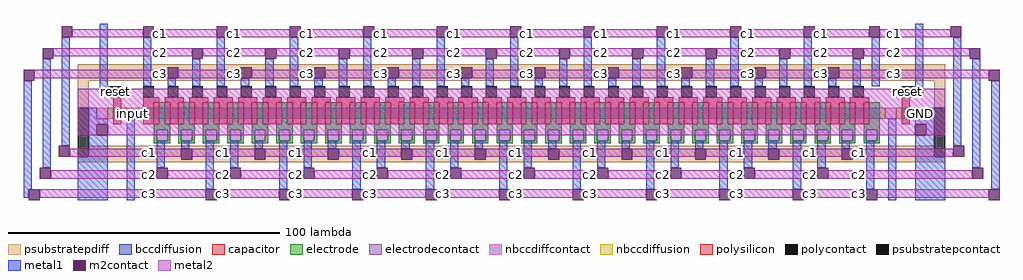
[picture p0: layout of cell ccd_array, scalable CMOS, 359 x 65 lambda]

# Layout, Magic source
magic
tech scmos
<< polysilicon >>
rect -51 5 -48 15
rect -40 13 -34 15
rect -32 13 -25 15
rect -23 13 -16 15
rect -14 13 -7 15
rect -5 13 2 15
rect 4 13 11 15
rect 13 13 20 15
rect 22 13 29 15
rect 31 13 38 15
rect 40 13 47 15
rect 49 13 56 15
rect 58 13 65 15
rect 67 13 74 15
rect 76 13 83 15
rect 85 13 92 15
rect 94 13 101 15
rect 103 13 110 15
rect 112 13 119 15
rect 121 13 128 15
rect 130 13 137 15
rect 139 13 146 15
rect 148 13 155 15
rect 157 13 164 15
rect 166 13 173 15
rect 175 13 182 15
rect 184 13 191 15
rect 193 13 200 15
rect 202 13 209 15
rect 211 13 218 15
rect 220 13 227 15
rect -40 5 -36 13
rect -30 5 -27 13
rect -21 5 -18 13
rect -12 5 -9 13
rect -3 5 0 13
rect 6 5 9 13
rect 15 5 18 13
rect 24 5 27 13
rect 33 5 36 13
rect 42 5 45 13
rect 51 5 54 13
rect 60 5 63 13
rect 69 5 72 13
rect 78 5 81 13
rect 87 5 90 13
rect 96 5 99 13
rect 105 5 108 13
rect 114 5 117 13
rect 123 5 126 13
rect 132 5 135 13
rect 141 5 144 13
rect 150 5 153 13
rect 159 5 162 13
rect 168 5 171 13
rect 177 5 180 13
rect 186 5 189 13
rect 195 5 198 13
rect 204 5 207 13
rect 213 5 216 13
rect 222 5 225 13
rect 239 5 242 15
<< electrode >>
rect -34 5 -32 13
rect -25 5 -23 13
rect -16 5 -14 13
rect -7 5 -5 13
rect 2 5 4 13
rect 11 5 13 13
rect 20 5 22 13
rect 29 5 31 13
rect 38 5 40 13
rect 47 5 49 13
rect 56 5 58 13
rect 65 5 67 13
rect 74 5 76 13
rect 83 5 85 13
rect 92 5 94 13
rect 101 5 103 13
rect 110 5 112 13
rect 119 5 121 13
rect 128 5 130 13
rect 137 5 139 13
rect 146 5 148 13
rect 155 5 157 13
rect 164 5 166 13
rect 173 5 175 13
rect 182 5 184 13
rect 191 5 193 13
rect 200 5 202 13
rect 209 5 211 13
rect 218 5 220 13
rect 227 5 231 13
rect -36 3 -30 5
rect -36 -1 -35 3
rect -31 -1 -30 3
rect -36 -2 -30 -1
rect -27 3 -21 5
rect -27 -1 -26 3
rect -22 -1 -21 3
rect -27 -2 -21 -1
rect -18 3 -12 5
rect -18 -1 -17 3
rect -13 -1 -12 3
rect -18 -2 -12 -1
rect -9 3 -3 5
rect -9 -1 -8 3
rect -4 -1 -3 3
rect -9 -2 -3 -1
rect 0 3 6 5
rect 0 -1 1 3
rect 5 -1 6 3
rect 0 -2 6 -1
rect 9 3 15 5
rect 9 -1 10 3
rect 14 -1 15 3
rect 9 -2 15 -1
rect 18 3 24 5
rect 18 -1 19 3
rect 23 -1 24 3
rect 18 -2 24 -1
rect 27 3 33 5
rect 27 -1 28 3
rect 32 -1 33 3
rect 27 -2 33 -1
rect 36 3 42 5
rect 36 -1 37 3
rect 41 -1 42 3
rect 36 -2 42 -1
rect 45 3 51 5
rect 45 -1 46 3
rect 50 -1 51 3
rect 45 -2 51 -1
rect 54 3 60 5
rect 54 -1 55 3
rect 59 -1 60 3
rect 54 -2 60 -1
rect 63 3 69 5
rect 63 -1 64 3
rect 68 -1 69 3
rect 63 -2 69 -1
rect 72 3 78 5
rect 72 -1 73 3
rect 77 -1 78 3
rect 72 -2 78 -1
rect 81 3 87 5
rect 81 -1 82 3
rect 86 -1 87 3
rect 81 -2 87 -1
rect 90 3 96 5
rect 90 -1 91 3
rect 95 -1 96 3
rect 90 -2 96 -1
rect 99 3 105 5
rect 99 -1 100 3
rect 104 -1 105 3
rect 99 -2 105 -1
rect 108 3 114 5
rect 108 -1 109 3
rect 113 -1 114 3
rect 108 -2 114 -1
rect 117 3 123 5
rect 117 -1 118 3
rect 122 -1 123 3
rect 117 -2 123 -1
rect 126 3 132 5
rect 126 -1 127 3
rect 131 -1 132 3
rect 126 -2 132 -1
rect 135 3 141 5
rect 135 -1 136 3
rect 140 -1 141 3
rect 135 -2 141 -1
rect 144 3 150 5
rect 144 -1 145 3
rect 149 -1 150 3
rect 144 -2 150 -1
rect 153 3 159 5
rect 153 -1 154 3
rect 158 -1 159 3
rect 153 -2 159 -1
rect 162 3 168 5
rect 162 -1 163 3
rect 167 -1 168 3
rect 162 -2 168 -1
rect 171 3 177 5
rect 171 -1 172 3
rect 176 -1 177 3
rect 171 -2 177 -1
rect 180 3 186 5
rect 180 -1 181 3
rect 185 -1 186 3
rect 180 -2 186 -1
rect 189 3 195 5
rect 189 -1 190 3
rect 194 -1 195 3
rect 189 -2 195 -1
rect 198 3 204 5
rect 198 -1 199 3
rect 203 -1 204 3
rect 198 -2 204 -1
rect 207 3 213 5
rect 207 -1 208 3
rect 212 -1 213 3
rect 207 -2 213 -1
rect 216 3 222 5
rect 216 -1 217 3
rect 221 -1 222 3
rect 216 -2 222 -1
rect 225 3 231 5
rect 225 -1 226 3
rect 230 -1 231 3
rect 225 -2 231 -1
<< capacitor >>
rect -36 5 -34 13
rect -32 5 -30 13
rect -27 5 -25 13
rect -23 5 -21 13
rect -18 5 -16 13
rect -14 5 -12 13
rect -9 5 -7 13
rect -5 5 -3 13
rect 0 5 2 13
rect 4 5 6 13
rect 9 5 11 13
rect 13 5 15 13
rect 18 5 20 13
rect 22 5 24 13
rect 27 5 29 13
rect 31 5 33 13
rect 36 5 38 13
rect 40 5 42 13
rect 45 5 47 13
rect 49 5 51 13
rect 54 5 56 13
rect 58 5 60 13
rect 63 5 65 13
rect 67 5 69 13
rect 72 5 74 13
rect 76 5 78 13
rect 81 5 83 13
rect 85 5 87 13
rect 90 5 92 13
rect 94 5 96 13
rect 99 5 101 13
rect 103 5 105 13
rect 108 5 110 13
rect 112 5 114 13
rect 117 5 119 13
rect 121 5 123 13
rect 126 5 128 13
rect 130 5 132 13
rect 135 5 137 13
rect 139 5 141 13
rect 144 5 146 13
rect 148 5 150 13
rect 153 5 155 13
rect 157 5 159 13
rect 162 5 164 13
rect 166 5 168 13
rect 171 5 173 13
rect 175 5 177 13
rect 180 5 182 13
rect 184 5 186 13
rect 189 5 191 13
rect 193 5 195 13
rect 198 5 200 13
rect 202 5 204 13
rect 207 5 209 13
rect 211 5 213 13
rect 216 5 218 13
rect 220 5 222 13
rect 225 5 227 13
<< metal1 >>
rect -84 -19 -81 21
rect -77 -11 -74 29
rect -70 -3 -67 37
rect -56 19 -53 42
rect -40 19 -37 37
rect -31 19 -28 22
rect -22 19 -19 29
rect -13 19 -10 37
rect -4 19 -1 22
rect 5 19 8 29
rect 14 19 17 37
rect 23 19 26 22
rect 32 19 35 29
rect 41 19 44 37
rect 50 19 53 22
rect 59 19 62 29
rect 68 19 71 37
rect 77 19 80 22
rect 86 19 89 29
rect 95 19 98 37
rect 104 19 107 22
rect 113 19 116 29
rect 122 19 125 37
rect 131 19 134 22
rect 140 19 143 29
rect 149 19 152 37
rect 158 19 161 22
rect 167 19 170 29
rect 176 19 179 37
rect 185 19 188 22
rect 194 19 197 29
rect 203 19 206 37
rect 212 19 215 22
rect 221 19 224 29
rect 228 19 231 37
rect 244 19 247 42
rect -56 16 -52 19
rect 243 16 247 19
rect -60 7 -57 11
rect -60 5 -53 7
rect -60 1 -57 5
rect -60 -7 -53 1
rect -84 -22 -82 -19
rect -64 -23 -53 -7
rect -46 -23 -43 7
rect -35 -11 -32 -1
rect -26 -4 -23 -1
rect -17 -19 -14 -1
rect -8 -11 -5 -1
rect 1 -4 4 -1
rect 10 -19 13 -1
rect 19 -11 22 -1
rect 28 -4 31 -1
rect 37 -19 40 -1
rect 46 -11 49 -1
rect 55 -4 58 -1
rect 64 -19 67 -1
rect 73 -11 76 -1
rect 82 -4 85 -1
rect 91 -19 94 -1
rect 100 -11 103 -1
rect 109 -4 112 -1
rect 118 -19 121 -1
rect 127 -11 130 -1
rect 136 -4 139 -1
rect 145 -19 148 -1
rect 154 -11 157 -1
rect 163 -4 166 -1
rect 172 -19 175 -1
rect 181 -11 184 -1
rect 190 -4 193 -1
rect 199 -19 202 -1
rect 208 -11 211 -1
rect 217 -4 220 -1
rect 226 -19 229 -1
rect 234 -23 237 7
rect 248 7 251 11
rect 244 5 251 7
rect 248 1 251 5
rect 244 -7 251 1
rect 258 -3 261 37
rect 244 -23 255 -7
rect 265 -11 268 29
rect 272 -19 275 21
<< metal2 >>
rect -66 37 -40 40
rect -36 37 -13 40
rect -9 37 14 40
rect 18 37 41 40
rect 45 37 68 40
rect 72 37 95 40
rect 99 37 122 40
rect 126 37 149 40
rect 153 37 176 40
rect 180 37 203 40
rect 207 37 227 40
rect 231 37 257 40
rect -73 30 -22 33
rect -18 30 5 33
rect 9 30 32 33
rect 36 30 59 33
rect 63 30 86 33
rect 90 30 113 33
rect 117 30 140 33
rect 144 30 167 33
rect 171 30 194 33
rect 198 30 221 33
rect 225 30 264 33
rect -80 22 -31 25
rect -27 22 -4 25
rect 0 22 23 25
rect 27 22 50 25
rect 54 22 77 25
rect 81 22 104 25
rect 108 22 131 25
rect 135 22 158 25
rect 162 22 185 25
rect 189 22 212 25
rect 216 22 271 25
rect -64 5 255 18
rect -64 1 -57 5
rect -53 1 244 5
rect 248 1 255 5
rect -67 -7 -26 -4
rect -22 -7 1 -4
rect 5 -7 28 -4
rect 32 -7 55 -4
rect 59 -7 82 -4
rect 86 -7 109 -4
rect 113 -7 136 -4
rect 140 -7 163 -4
rect 167 -7 190 -4
rect 194 -7 217 -4
rect 221 -7 258 -4
rect -74 -15 -35 -12
rect -31 -15 -8 -12
rect -4 -15 19 -12
rect 23 -15 46 -12
rect 50 -15 73 -12
rect 77 -15 100 -12
rect 104 -15 127 -12
rect 131 -15 154 -12
rect 158 -15 181 -12
rect 185 -15 208 -12
rect 212 -15 265 -12
rect -78 -22 -17 -19
rect -13 -22 10 -19
rect 14 -22 37 -19
rect 41 -22 64 -19
rect 68 -22 91 -19
rect 95 -22 118 -19
rect 122 -22 145 -19
rect 149 -22 172 -19
rect 176 -22 199 -19
rect 203 -22 226 -19
rect 230 -22 271 -19
<< bccdiffusion >>
rect -51 7 -48 11
rect -40 7 231 11
rect 239 7 242 11
<< nbccdiffusion >>
rect -53 7 -51 11
rect -48 7 -46 11
rect -42 7 -40 11
rect 231 7 233 11
rect 237 7 239 11
rect 242 7 244 11
<< polycontact >>
rect -52 15 -48 19
rect -40 15 -36 19
rect -31 15 -27 19
rect -22 15 -18 19
rect -13 15 -9 19
rect -4 15 0 19
rect 5 15 9 19
rect 14 15 18 19
rect 23 15 27 19
rect 32 15 36 19
rect 41 15 45 19
rect 50 15 54 19
rect 59 15 63 19
rect 68 15 72 19
rect 77 15 81 19
rect 86 15 90 19
rect 95 15 99 19
rect 104 15 108 19
rect 113 15 117 19
rect 122 15 126 19
rect 131 15 135 19
rect 140 15 144 19
rect 149 15 153 19
rect 158 15 162 19
rect 167 15 171 19
rect 176 15 180 19
rect 185 15 189 19
rect 194 15 198 19
rect 203 15 207 19
rect 212 15 216 19
rect 221 15 225 19
rect 239 15 243 19
<< electrodecontact >>
rect -35 -1 -31 3
rect -26 -1 -22 3
rect -17 -1 -13 3
rect -8 -1 -4 3
rect 1 -1 5 3
rect 10 -1 14 3
rect 19 -1 23 3
rect 28 -1 32 3
rect 37 -1 41 3
rect 46 -1 50 3
rect 55 -1 59 3
rect 64 -1 68 3
rect 73 -1 77 3
rect 82 -1 86 3
rect 91 -1 95 3
rect 100 -1 104 3
rect 109 -1 113 3
rect 118 -1 122 3
rect 127 -1 131 3
rect 136 -1 140 3
rect 145 -1 149 3
rect 154 -1 158 3
rect 163 -1 167 3
rect 172 -1 176 3
rect 181 -1 185 3
rect 190 -1 194 3
rect 199 -1 203 3
rect 208 -1 212 3
rect 217 -1 221 3
rect 226 -1 230 3
<< nbccdiffcontact >>
rect -57 7 -53 11
rect -46 7 -42 11
rect 233 7 237 11
rect 244 7 248 11
<< m2contact >>
rect -70 37 -66 41
rect -77 29 -73 33
rect -84 21 -80 25
rect -40 37 -36 41
rect -13 37 -9 41
rect 14 37 18 41
rect 41 37 45 41
rect 68 37 72 41
rect 95 37 99 41
rect 122 37 126 41
rect 149 37 153 41
rect 176 37 180 41
rect 203 37 207 41
rect 227 37 231 41
rect -22 29 -18 33
rect -31 22 -27 26
rect 5 29 9 33
rect -4 22 0 26
rect 32 29 36 33
rect 23 22 27 26
rect 59 29 63 33
rect 50 22 54 26
rect 86 29 90 33
rect 77 22 81 26
rect 113 29 117 33
rect 104 22 108 26
rect 140 29 144 33
rect 131 22 135 26
rect 167 29 171 33
rect 158 22 162 26
rect 194 29 198 33
rect 185 22 189 26
rect 221 29 225 33
rect 212 22 216 26
rect 257 37 261 41
rect -71 -7 -67 -3
rect -57 1 -53 5
rect -78 -15 -74 -11
rect -82 -23 -78 -19
rect -26 -8 -22 -4
rect -35 -15 -31 -11
rect 1 -8 5 -4
rect -8 -15 -4 -11
rect 28 -8 32 -4
rect 19 -15 23 -11
rect 55 -8 59 -4
rect 46 -15 50 -11
rect 82 -8 86 -4
rect 73 -15 77 -11
rect 109 -8 113 -4
rect 100 -15 104 -11
rect 136 -8 140 -4
rect 127 -15 131 -11
rect 163 -8 167 -4
rect 154 -15 158 -11
rect 190 -8 194 -4
rect 181 -15 185 -11
rect 217 -8 221 -4
rect 208 -15 212 -11
rect -17 -23 -13 -19
rect 10 -23 14 -19
rect 37 -23 41 -19
rect 64 -23 68 -19
rect 91 -23 95 -19
rect 118 -23 122 -19
rect 145 -23 149 -19
rect 172 -23 176 -19
rect 199 -23 203 -19
rect 226 -23 230 -19
rect 244 1 248 5
rect 264 29 268 33
rect 258 -7 262 -3
rect 271 21 275 25
rect 265 -15 269 -11
rect 271 -23 275 -19
<< psubstratepcontact >>
rect -64 -7 -60 11
rect 251 -7 255 11
<< psubstratepdiff >>
rect -64 21 255 27
rect -64 11 -60 21
rect 251 11 255 21
rect -60 -7 251 -3
rect -64 -9 255 -7
<< labels >>
rlabel metal2 -35 30 -32 33 0 c2
rlabel metal2 -8 30 -5 33 0 c2
rlabel metal2 19 30 22 33 0 c2
rlabel metal2 46 30 49 33 0 c2
rlabel metal2 73 30 76 33 0 c2
rlabel metal2 100 30 103 33 0 c2
rlabel metal2 127 30 130 33 0 c2
rlabel metal2 154 30 157 33 0 c2
rlabel metal2 181 30 184 33 0 c2
rlabel metal2 208 30 211 33 0 c2
rlabel metal2 -35 37 -32 40 0 c1
rlabel metal2 -8 37 -5 40 0 c1
rlabel metal2 19 37 22 40 0 c1
rlabel metal2 46 37 49 40 0 c1
rlabel metal2 73 37 76 40 0 c1
rlabel metal2 100 37 103 40 0 c1
rlabel metal2 127 37 130 40 0 c1
rlabel metal2 154 37 157 40 0 c1
rlabel metal2 181 37 184 40 0 c1
rlabel metal2 208 37 211 40 0 c1
rlabel metal2 -35 22 -32 25 0 c3
rlabel metal2 -8 22 -5 25 0 c3
rlabel metal2 19 22 22 25 0 c3
rlabel metal2 46 22 49 25 0 c3
rlabel metal2 73 22 76 25 0 c3
rlabel metal2 100 22 103 25 0 c3
rlabel metal2 127 22 130 25 0 c3
rlabel metal2 154 22 157 25 0 c3
rlabel metal2 181 22 184 25 0 c3
rlabel metal2 208 22 211 25 0 c3
rlabel metal2 -39 -7 -36 -4 0 c1
rlabel metal2 -12 -7 -9 -4 0 c1
rlabel metal2 15 -7 18 -4 0 c1
rlabel metal2 42 -7 45 -4 0 c1
rlabel metal2 69 -7 72 -4 0 c1
rlabel metal2 96 -7 99 -4 0 c1
rlabel metal2 123 -7 126 -4 0 c1
rlabel metal2 150 -7 153 -4 0 c1
rlabel metal2 177 -7 180 -4 0 c1
rlabel metal2 204 -7 207 -4 0 c1
rlabel metal2 -39 -15 -36 -12 0 c2
rlabel metal2 -12 -15 -9 -12 0 c2
rlabel metal2 15 -15 18 -12 0 c2
rlabel metal2 42 -15 45 -12 0 c2
rlabel metal2 69 -15 72 -12 0 c2
rlabel metal2 96 -15 99 -12 0 c2
rlabel metal2 123 -15 126 -12 0 c2
rlabel metal2 150 -15 153 -12 0 c2
rlabel metal2 177 -15 180 -12 0 c2
rlabel metal2 204 -15 207 -12 0 c2
rlabel metal2 -39 -22 -36 -19 0 c3
rlabel metal2 -12 -22 -9 -19 0 c3
rlabel metal2 15 -22 18 -19 0 c3
rlabel metal2 42 -22 45 -19 0 c3
rlabel metal2 69 -22 72 -19 0 c3
rlabel metal2 96 -22 99 -19 0 c3
rlabel metal2 123 -22 126 -19 0 c3
rlabel metal2 150 -22 153 -19 0 c3
rlabel metal2 177 -22 180 -19 0 c3
rlabel metal2 204 -22 207 -19 0 c3
rlabel metal2 222 -22 225 -19 0 c3
rlabel metal2 222 -15 225 -12 0 c2
rlabel metal2 222 -7 225 -4 0 c1
rlabel metal2 235 37 238 40 0 c1
rlabel metal2 235 22 238 25 0 c3
rlabel metal2 235 30 238 33 0 c2
rlabel polycontact 239 15 243 19 0 reset
rlabel nbccdiffcontact 244 7 248 11 0 GND
rlabel nbccdiffcontact -46 7 -42 11 0 input
rlabel polycontact -52 15 -48 19 0 reset
rlabel nbccdiffcontact -57 7 -53 11 0 GND
rlabel nbccdiffcontact 233 7 237 11 0 output
<< end >>
